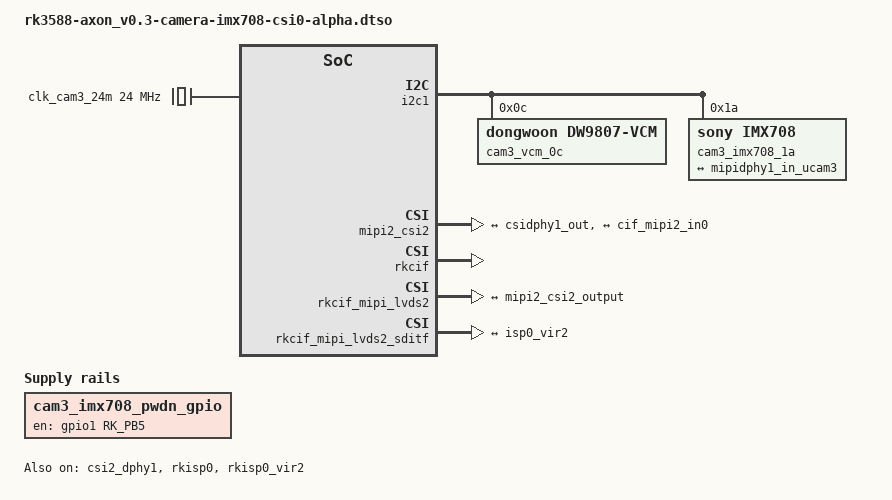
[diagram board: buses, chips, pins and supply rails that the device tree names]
// SPDX-License-Identifier: GPL-2.0+
// Copyright (C) 2024 Vicharak Computers PVT LTD

/dts-v1/;
/plugin/;

#include <dt-bindings/gpio/gpio.h>
#include <dt-bindings/pinctrl/rockchip.h>

&{/} {
	metadata {
		title = "Enable RasPi Camera V3 (IMX708) on CSI0 Alpha Axon V0.3";
		compatible = "vicharak,rk3588-axon", "rockchip,rk3588";
		category = "camera";
		exclusive = "cam3", "imx708_1_1a", "csi2_dphy1", "mipi2_csi2", \
			    "rkcif_mipi_lvds2", "rkcif_mipi_lvds2_sditf", \
			    "rkisp0_vir2", "cam3_vcm_0c";
		description = "Enables IMX708 based RaspberryPi Camera V3 on
\t\tVicharak Axon at I2C 1 bus address 1a on dphy1";
	};

	cam3_imx708_pwdn_gpio: cam3-pwdn-gpio {
		status = "okay";
		compatible = "regulator-fixed";
		regulator-name = "cam3_pwdn_gpio";
		regulator-always-on;
		regulator-boot-on;
		enable-active-high;
		gpio = <&gpio1 RK_PB5 GPIO_ACTIVE_HIGH>;
		pinctrl-names = "default";
		pinctrl-0 = <&cam3_pwdn_gpio>;
	};
	
	clk_cam3_24m: external-cam3-clock-24m {
		status = "okay";
		compatible = "fixed-clock";
		clock-frequency = <24000000>;
		clock-output-names = "clk_cam3_24m";
		#clock-cells = <0>;
	};
};

&i2c1 {
	status = "okay";
	#address-cells = <1>;
	#size-cells = <0>;
	
	cam3_vcm_0c: cam3-vcm@0c {
		compatible = "dongwoon,dw9807-vcm";
		reg = <0x0c>;
		status = "okay";
	};

	cam3_imx708_1a: cam3-imx708@1a {
		status = "okay";
		compatible = "sony,imx708";
		reg = <0x1a>;

		clocks = <&clk_cam3_24m>;
		clock-names = "xclk";

		rockchip,camera-module-index = <3>;
		rockchip,camera-module-facing = "front";
		rockchip,camera-module-name = "rpi-camera-v3";
		rockchip,camera-module-lens-name = "default";

		lens-focus = <&cam3_vcm_0c>;

		port {
			cam3_imx708_out0: endpoint {
				remote-endpoint = <&mipidphy1_in_ucam3>;
				link-frequencies = /bits/ 64 <450000000>;
				data-lanes = <1 2>;
			};
		};
	};
};

&csi2_dphy1 {
	status = "okay";

	ports {
		#address-cells = <1>;
		#size-cells = <0>;

		port@0 {
			reg = <0>;
			#address-cells = <1>;
			#size-cells = <0>;

			mipidphy1_in_ucam3: endpoint@1 {
				reg = <1>;
				remote-endpoint = <&cam3_imx708_out0>;
				data-lanes = <1 2>;
			};

		};

		port@1 {
			reg = <1>;
			#address-cells = <1>;
			#size-cells = <0>;

			csidphy1_out: endpoint@0 {
				reg = <0>;
				remote-endpoint = <&mipi2_csi2_input>;
			};
		};
	};
};

&mipi2_csi2 {
	status = "okay";

	ports {
		#address-cells = <1>;
		#size-cells = <0>;

		port@0 {
			reg = <0>;
			#address-cells = <1>;
			#size-cells = <0>;

			mipi2_csi2_input: endpoint@1 {
				reg = <1>;
				remote-endpoint = <&csidphy1_out>;
			};
		};

		port@1 {
			reg = <1>;
			#address-cells = <1>;
			#size-cells = <0>;

			mipi2_csi2_output: endpoint@0 {
				reg = <0>;
				remote-endpoint = <&cif_mipi2_in0>;
			};
		};
	};
};

&rkcif {
	status = "okay";
};

&rkcif_mipi_lvds2 {
	status = "okay";

	port {
		cif_mipi2_in0: endpoint {
			remote-endpoint = <&mipi2_csi2_output>;
		};
	};
};

&rkcif_mipi_lvds2_sditf {
	status = "okay";

	port {
		mipi_lvds2_sditf: endpoint {
			remote-endpoint = <&isp0_vir2>;
		};
	};
};

&rkcif_mmu {
	status = "okay";
};

&rkisp0 {
	status = "okay";
};

&isp0_mmu {
	status = "okay";
};

&rkisp0_vir2 {
	status = "okay";

	port {
		#address-cells = <1>;
		#size-cells = <0>;

		isp0_vir2: endpoint@0 {
			reg = <0>;
			remote-endpoint = <&mipi_lvds2_sditf>;
		};
	};
};

&pinctrl {
	camera {
		cam3_pwdn_gpio: cam3-pwdn-gpio {
			rockchip,pins = <1 RK_PB5 RK_FUNC_GPIO &pcfg_pull_up>;
		};
	};
};
